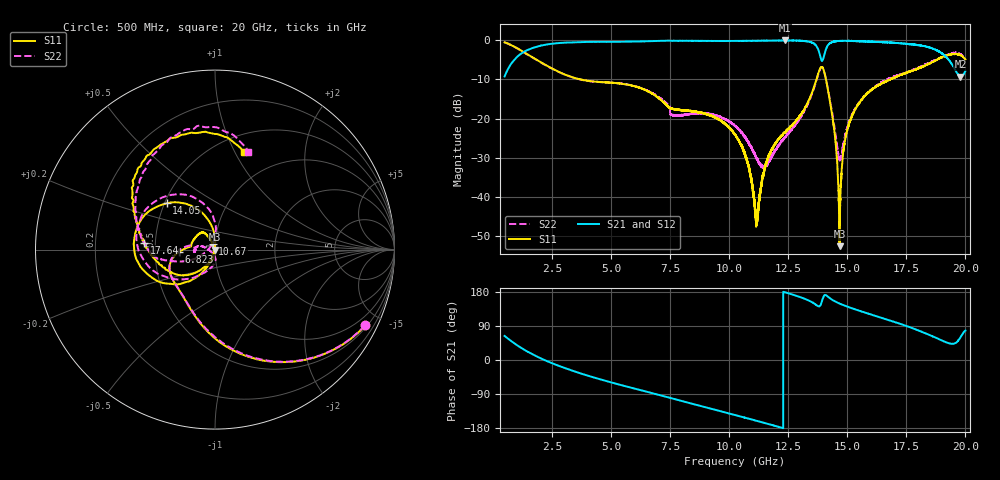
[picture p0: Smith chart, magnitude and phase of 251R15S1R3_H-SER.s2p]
!{251R15S1R3}
!Johanson Technology Inc.
!www.johansontechnology.com
!Test Board Conditions:
!Substrate Type  RO4350B
!Substrate Thickness  20 mil
!Substrate Dk  3.66
!TL Type: GCPW
!TL Trace Width  34 mil
!TL Gap  10 mil
!Electrode orientation  Horizontal
!DUT TOPOLOGY	SERIES
!Mounting Pad LxW  26x52 mil
! Created Thu Mar 12 16:34:56 2020
# mhz S ma R 50
! 2 Port Network Data from SP1.SP block
! freq  magS11  angS11  magS21  angS21  magS12  angS12  magS22  angS22
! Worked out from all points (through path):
!   19501 points, 500 MHz to 20 GHz, reference 50 ohm
!   highest |S21| = -0.08 dB at 12.36 GHz (marker M1); lowest = -9.3 dB at 19.79 GHz (marker M2)
!   lowest |S11| = -52.6 dB at 14.68 GHz (marker M3), VSWR 1.00, Z = 49.8 - j0.0803 ohm
!   |S11| at or under -10 dB: 3.694 GHz to 13.7 GHz (10 GHz wide, 115 % of centre); 14.1 GHz to 16.82 GHz (2.723 GHz wide, 17.6 % of centre); 16.82513 GHz to 16.82652 GHz (1.387 MHz wide, 0.00824 % of centre)
!   |S22| runs from -32.7 to -0.6 dB; largest |S21 - S12| = 0.018
!   S11 on the Smith chart (normalised r, x): 500 MHz: 0.59, -4.14; 6.823 GHz: 0.67, -0.02; 10.67 GHz: 0.97, +0.06; 14.05 GHz: 0.51, +0.31; 17.64 GHz: 0.43, +0.04; 20 GHz: 0.68, +1.09
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500  0.9382 -26.7  0.3439 63.4  0.3447 63.5  0.9363 -26.7
1978  0.5345 -84.6  0.8421 5.9  0.8438 5.9  0.5306 -84.1
3750  0.3134 -125.2  0.9455 -36.1  0.9457 -36.0  0.3122 -125.4
6823  0.201 -176.5  0.9731 -88.8  0.9735 -88.8  0.2049 -178.0
7000  0.1847 -179.0  0.9765 -91.7  0.977 -91.6  0.1894 178.8
10250  0.06194 114.2  0.9759 -145.2  0.9776 -145.2  0.08011 166.2
10671  0.03436 112.1  0.9786 -152.2  0.978 -152.3  0.05935 166.6
11173  0.004803 -168.6  0.9813 -160.6  0.983 -160.7  0.03098 -174.2
11600  0.02819 -100.9  0.9859 -167.9  0.9852 -167.9  0.02553 -118.5
12358  0.06669 -108.2  0.9909 178.7  0.9892 178.8  0.05745 -86.4
13500  0.2102 -127.1  0.9327 152.8  0.9348 152.8  0.2036 -129.0
13867  0.4446 -174.3  0.61 144.3  0.613 143.5  0.4347 176.6
14047  0.3734 136.1  0.682 171.3  0.6805 170.9  0.3767 125.1
14430  0.07908 91.3  0.9559 156.4  0.9582 156.4  0.08833 87.8
14677  0.002353 -160.0  0.9797 149.0  0.9776 148.9  0.02964 142.0
14892  0.04973 -112.1  0.9793 143.4  0.9801 143.6  0.05653 -164.3
15192  0.1065 -120.5  0.9798 136.6  0.9754 136.6  0.1119 -155.4
16750  0.3109 -162.7  0.9378 105.5  0.9283 105.0  0.3237 -170.9
17635  0.3956 174.5  0.8875 86.9  0.8827 86.4  0.3982 174.0
19014  0.607 136.9  0.6748 51.3  0.6783 52.3  0.6072 128.4
19789  0.6443 89.3  0.3416 59.6  0.3458 60.4  0.6571 84.9
20000  0.5666 73.6  0.4045 77.7  0.4063 77.9  0.5742 71.3
